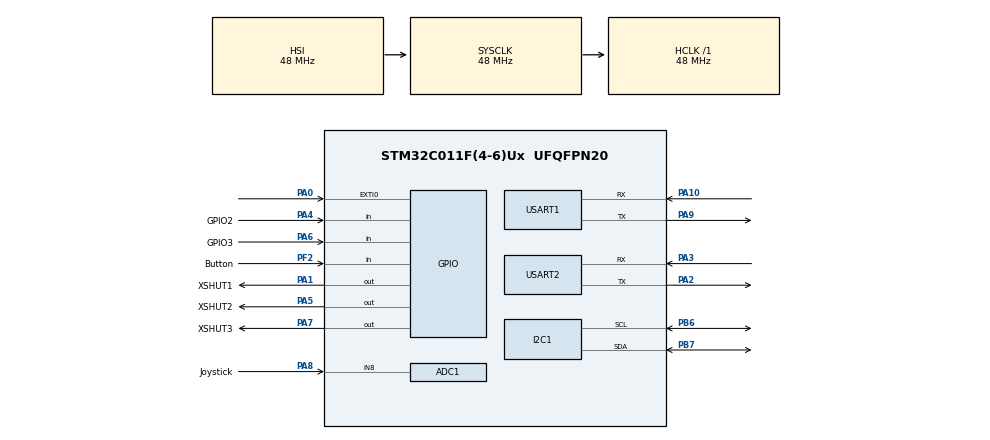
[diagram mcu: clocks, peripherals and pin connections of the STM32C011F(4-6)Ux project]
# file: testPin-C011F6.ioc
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ADC1.Channel-0\#ChannelRegularConversion=ADC_CHANNEL_8
ADC1.NbrOfConversionFlag=1
ADC1.Rank-0\#ChannelRegularConversion=1
ADC1.SamplingTime-0\#ChannelRegularConversion=ADC_SAMPLINGTIME_COMMON_1
ADC1.SelectedChannel=ADC_CHANNEL_8
ADC1.master=1
Dma.Request0=USART1_TX
Dma.Request1=USART1_RX
Dma.USART1_RX.1.Direction=DMA_PERIPH_TO_MEMORY
Dma.USART1_RX.1.EventEnable=DISABLE
Dma.USART1_RX.1.Instance=DMA1_Channel2
Dma.USART1_RX.1.MemDataAlignment=DMA_MDATAALIGN_BYTE
Dma.USART1_RX.1.MemInc=DMA_MINC_ENABLE
Dma.USART1_RX.1.Mode=DMA_NORMAL
Dma.USART1_RX.1.PeriphDataAlignment=DMA_PDATAALIGN_BYTE
Dma.USART1_RX.1.PeriphInc=DMA_PINC_DISABLE
Dma.USART1_RX.1.Polarity=HAL_DMAMUX_REQ_GEN_RISING
Dma.USART1_RX.1.Priority=DMA_PRIORITY_LOW
Dma.USART1_RX.1.RequestNumber=1
Dma.USART1_RX.1.SignalID=NONE
Dma.USART1_RX.1.SyncEnable=DISABLE
Dma.USART1_RX.1.SyncPolarity=HAL_DMAMUX_SYNC_NO_EVENT
Dma.USART1_RX.1.SyncRequestNumber=1
Dma.USART1_RX.1.SyncSignalID=NONE
Dma.USART1_TX.0.Direction=DMA_MEMORY_TO_PERIPH
Dma.USART1_TX.0.EventEnable=DISABLE
Dma.USART1_TX.0.Instance=DMA1_Channel1
Dma.USART1_TX.0.MemDataAlignment=DMA_MDATAALIGN_BYTE
Dma.USART1_TX.0.MemInc=DMA_MINC_ENABLE
Dma.USART1_TX.0.Mode=DMA_NORMAL
Dma.USART1_TX.0.PeriphDataAlignment=DMA_PDATAALIGN_BYTE
Dma.USART1_TX.0.PeriphInc=DMA_PINC_DISABLE
Dma.USART1_TX.0.Polarity=HAL_DMAMUX_REQ_GEN_RISING
Dma.USART1_TX.0.Priority=DMA_PRIORITY_LOW
Dma.USART1_TX.0.RequestNumber=1
Dma.USART1_TX.0.SignalID=NONE
Dma.USART1_TX.0.SyncEnable=DISABLE
Dma.USART1_TX.0.SyncPolarity=HAL_DMAMUX_SYNC_NO_EVENT
Dma.USART1_TX.0.SyncRequestNumber=1
Dma.USART1_TX.0.SyncSignalID=NONE
I2C1.CustomTiming=Enabled
I2C1.Timing=0x20303E5D
Mcu.Family=STM32C0
Mcu.Name=STM32C011F(4-6)Ux
Mcu.Package=UFQFPN20
NVIC.DMA1_Channel1_IRQn=true\:0\:0\:false\:false\:true\:false\:true\:true
NVIC.DMA1_Channel2_3_IRQn=true\:0\:0\:false\:false\:true\:false\:true\:true
NVIC.EXTI0_1_IRQn=true\:0\:0\:false\:false\:true\:true\:true\:true
NVIC.I2C1_IRQn=true\:0\:0\:false\:false\:true\:true\:true\:true
NVIC.USART1_IRQn=true\:0\:0\:false\:false\:true\:true\:true\:true
PA0.Signal=GPXTI0
PA1.GPIO_Label=XSHUT1
PA1.Signal=GPIO_Output
PA10\ [PA12].Mode=Asynchronous
PA10\ [PA12].Signal=USART1_RX
PA2.Mode=Asynchronous
PA2.Signal=USART2_TX
PA3.Mode=Asynchronous
PA3.Signal=USART2_RX
PA4.GPIO_Label=GPIO2
PA4.Signal=GPIO_Input
PA5.GPIO_Label=XSHUT2
PA5.Signal=GPIO_Output
PA6.GPIO_Label=GPIO3
PA6.GPIO_PuPd=GPIO_NOPULL
PA6.Signal=GPIO_Input
PA7.GPIO_Label=XSHUT3
PA7.Signal=GPIO_Output
PA8.GPIO_Label=Joystick
PA8.Mode=IN8
PA8.Signal=ADC1_IN8
PA9\ [PA11].Mode=Asynchronous
PA9\ [PA11].Signal=USART1_TX
PB6.GPIO_Pu=GPIO_PULLUP
PB6.GPIO_Speed=GPIO_SPEED_FREQ_MEDIUM
PB6.Mode=I2C
PB6.Signal=I2C1_SCL
PB7.GPIO_Pu=GPIO_PULLUP
PB7.GPIO_Speed=GPIO_SPEED_FREQ_MEDIUM
PB7.Mode=I2C
PB7.Signal=I2C1_SDA
PF2-NRST.GPIO_Label=Button
PF2-NRST.Signal=GPIO_Input
ProjectManager.HeapSize=0x200
ProjectManager.StackSize=0x400
ProjectManager.TargetToolchain=STM32CubeIDE
RCC.ADCFreq_Value=48000000
RCC.AHBFreq_Value=48000000
RCC.CortexFreq_Value=48000000
RCC.EXTERNAL_CLOCK_VALUE=12288000
RCC.HCLKFreq_Value=48000000
RCC.HSE_VALUE=8000000
RCC.HSISYSCLKDivider=RCC_HSI_DIV1
RCC.HSI_VALUE=48000000
RCC.LSE_VALUE=32768
RCC.SYSCLKFreq_VALUE=48000000
USART1.VirtualMode-Asynchronous=VM_ASYNC
USART2.VirtualMode-Asynchronous=VM_ASYNC
VP_SYS_VS_PINREMAP.Mode=PINREMAP
VP_SYS_VS_PINREMAP_10_12.Mode=PINREMAP_10_12
board=STM32C0116-DK

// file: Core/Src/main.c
/* USER CODE BEGIN Header */
/**
 ******************************************************************************
 * @file           : main.c
 * @brief          : Main program body
 ******************************************************************************
 * @attention
 *
 * Copyright (c) 2024 STMicroelectronics.
 * All rights reserved.
 *
 * This software is licensed under terms that can be found in the LICENSE file
 * in the root directory of this software component.
 * If no LICENSE file comes with this software, it is provided AS-IS.
 *
 ******************************************************************************
 */
/* USER CODE END Header */
#include "main.h"

/* USER CODE BEGIN Includes */
#include <stdarg.h>
#include "vl53l0x_api.h"
#include "STM32C011F6Ux.h"

/* USER CODE END Includes */

/* USER CODE BEGIN PD */
#if TRACE_UART

extern int uart_printf(const char *msg, ...);
extern int uart_vprintf(const char *msg, va_list ap);

#define trace_printf uart_printf
#define trace_vprintf uart_vprintf

#endif

/* USER CODE END PD */

ADC_HandleTypeDef hadc1;

I2C_HandleTypeDef hi2c1;

UART_HandleTypeDef huart1;
UART_HandleTypeDef huart2;
DMA_HandleTypeDef hdma_usart1_tx;
DMA_HandleTypeDef hdma_usart1_rx;

/* USER CODE BEGIN PV */

VL53L0X_Dev_t VL53L0XDevs[]={
		{.Id=STM32C011F6U_SENSOR_1, .DevLetter='s0', .I2cHandle=&hi2c1, .I2cDevAddr=0x52},
		{.Id=STM32C011F6U_SENSOR_2, .DevLetter='s1', .I2cHandle=&hi2c1, .I2cDevAddr=0x52},
		{.Id=STM32C011F6U_SENSOR_3, .DevLetter='s2', .I2cHandle=&hi2c1, .I2cDevAddr=0x52},
};

int nDevPresent=0;

/* USER CODE END PV */

void SystemClock_Config(void);
static void MX_GPIO_Init(void);
static void MX_DMA_Init(void);
static void MX_USART1_UART_Init(void);
static void MX_USART2_UART_Init(void);
static void MX_ADC1_Init(void);
static void MX_I2C1_Init(void);
/* USER CODE BEGIN PFP */

int STM32C011F6_ResetId(int DevNo,int state);
int ResetSensors(void);
int DetectSensors(void);

/* USER CODE END PFP */

int main(void)
{
	/* USER CODE BEGIN 1 */
	//prova2

	/* USER CODE END 1 */

	/* MCU Configuration--------------------------------------------------------*/

	/* Reset of all peripherals, Initializes the Flash interface and the Systick. */
	HAL_Init();

	/* Configure the system clock */
	SystemClock_Config();

	/* Initialize all configured peripherals */
	MX_GPIO_Init();
	MX_DMA_Init();
	MX_USART1_UART_Init();
	MX_USART2_UART_Init();
	MX_ADC1_Init();
	MX_I2C1_Init();
	/* USER CODE BEGIN 2 */
	trace_printf("ciao!\r\n");

	/* USER CODE END 2 */

	/* Infinite loop */
	/* USER CODE BEGIN WHILE */
	while (1)
	{
		int i;
		int status;
		int nDev;

		/* Reset all */
		for (i = 0; i < 3; i++){
			status = STM32C011F6_ResetId(i, 0);
			if(status == VL53L0X_ERROR_NONE)
			{
				//trace_printf("s%d device reset\r\n", i);
			}
		}
		status = ResetSensors();
		nDev = DetectSensors();
		trace_printf("ciao!\r\n");

	/* USER CODE END WHILE */

}
}

void SystemClock_Config(void)
{
	RCC_OscInitTypeDef RCC_OscInitStruct = {0};
	RCC_ClkInitTypeDef RCC_ClkInitStruct = {0};

	/** Initializes the RCC Oscillators according to the specified parameters
	 * in the RCC_OscInitTypeDef structure.
	 */
	RCC_OscInitStruct.OscillatorType = RCC_OSCILLATORTYPE_HSI;
	RCC_OscInitStruct.HSIState = RCC_HSI_ON;
	RCC_OscInitStruct.HSIDiv = RCC_HSI_DIV1;
	RCC_OscInitStruct.HSICalibrationValue = RCC_HSICALIBRATION_DEFAULT;
	if (HAL_RCC_OscConfig(&RCC_OscInitStruct) != HAL_OK)
	{
		Error_Handler();
	}

	/** Initializes the CPU, AHB and APB buses clocks
	 */
	RCC_ClkInitStruct.ClockType = RCC_CLOCKTYPE_HCLK|RCC_CLOCKTYPE_SYSCLK
			|RCC_CLOCKTYPE_PCLK1;
	RCC_ClkInitStruct.SYSCLKSource = RCC_SYSCLKSOURCE_HSI;
	RCC_ClkInitStruct.SYSCLKDivider = RCC_SYSCLK_DIV1;
	RCC_ClkInitStruct.AHBCLKDivider = RCC_HCLK_DIV1;
	RCC_ClkInitStruct.APB1CLKDivider = RCC_APB1_DIV1;

	if (HAL_RCC_ClockConfig(&RCC_ClkInitStruct, FLASH_LATENCY_1) != HAL_OK)
	{
		Error_Handler();
	}
}

static void MX_ADC1_Init(void)
{

	ADC_ChannelConfTypeDef sConfig = {0};

	/** Configure the global features of the ADC (Clock, Resolution, Data Alignment and number of conversion)
	 */
	hadc1.Instance = ADC1;
	hadc1.Init.ClockPrescaler = ADC_CLOCK_SYNC_PCLK_DIV2;
	hadc1.Init.Resolution = ADC_RESOLUTION_12B;
	hadc1.Init.DataAlign = ADC_DATAALIGN_RIGHT;
	hadc1.Init.ScanConvMode = ADC_SCAN_DISABLE;
	hadc1.Init.EOCSelection = ADC_EOC_SINGLE_CONV;
	hadc1.Init.LowPowerAutoWait = DISABLE;
	hadc1.Init.LowPowerAutoPowerOff = DISABLE;
	hadc1.Init.ContinuousConvMode = DISABLE;
	hadc1.Init.NbrOfConversion = 1;
	hadc1.Init.DiscontinuousConvMode = DISABLE;
	hadc1.Init.ExternalTrigConv = ADC_SOFTWARE_START;
	hadc1.Init.ExternalTrigConvEdge = ADC_EXTERNALTRIGCONVEDGE_NONE;
	hadc1.Init.DMAContinuousRequests = DISABLE;
	hadc1.Init.Overrun = ADC_OVR_DATA_PRESERVED;
	hadc1.Init.SamplingTimeCommon1 = ADC_SAMPLETIME_1CYCLE_5;
	hadc1.Init.SamplingTimeCommon2 = ADC_SAMPLETIME_1CYCLE_5;
	hadc1.Init.OversamplingMode = DISABLE;
	hadc1.Init.TriggerFrequencyMode = ADC_TRIGGER_FREQ_HIGH;
	if (HAL_ADC_Init(&hadc1) != HAL_OK)
	{
		Error_Handler();
	}

	/** Configure Regular Channel
	 */
	sConfig.Channel = ADC_CHANNEL_8;
	sConfig.Rank = ADC_REGULAR_RANK_1;
	sConfig.SamplingTime = ADC_SAMPLINGTIME_COMMON_1;
	if (HAL_ADC_ConfigChannel(&hadc1, &sConfig) != HAL_OK)
	{
		Error_Handler();
	}

}

static void MX_I2C1_Init(void)
{

	hi2c1.Instance = I2C1;
	hi2c1.Init.Timing = 0x20303E5D;
	hi2c1.Init.OwnAddress1 = 0;
	hi2c1.Init.AddressingMode = I2C_ADDRESSINGMODE_7BIT;
	hi2c1.Init.DualAddressMode = I2C_DUALADDRESS_DISABLE;
	hi2c1.Init.OwnAddress2 = 0;
	hi2c1.Init.OwnAddress2Masks = I2C_OA2_NOMASK;
	hi2c1.Init.GeneralCallMode = I2C_GENERALCALL_DISABLE;
	hi2c1.Init.NoStretchMode = I2C_NOSTRETCH_DISABLE;
	if (HAL_I2C_Init(&hi2c1) != HAL_OK)
	{
		Error_Handler();
	}

	/** Configure Analogue filter
	 */
	if (HAL_I2CEx_ConfigAnalogFilter(&hi2c1, I2C_ANALOGFILTER_ENABLE) != HAL_OK)
	{
		Error_Handler();
	}

	/** Configure Digital filter
	 */
	if (HAL_I2CEx_ConfigDigitalFilter(&hi2c1, 0) != HAL_OK)
	{
		Error_Handler();
	}

}

static void MX_USART1_UART_Init(void)
{

	huart1.Instance = USART1;
	huart1.Init.BaudRate = 115200;
	huart1.Init.WordLength = UART_WORDLENGTH_8B;
	huart1.Init.StopBits = UART_STOPBITS_1;
	huart1.Init.Parity = UART_PARITY_NONE;
	huart1.Init.Mode = UART_MODE_TX_RX;
	huart1.Init.HwFlowCtl = UART_HWCONTROL_NONE;
	huart1.Init.OverSampling = UART_OVERSAMPLING_16;
	huart1.Init.OneBitSampling = UART_ONE_BIT_SAMPLE_DISABLE;
	huart1.Init.ClockPrescaler = UART_PRESCALER_DIV1;
	huart1.AdvancedInit.AdvFeatureInit = UART_ADVFEATURE_NO_INIT;
	if (HAL_UART_Init(&huart1) != HAL_OK)
	{
		Error_Handler();
	}
	if (HAL_UARTEx_SetTxFifoThreshold(&huart1, UART_TXFIFO_THRESHOLD_1_8) != HAL_OK)
	{
		Error_Handler();
	}
	if (HAL_UARTEx_SetRxFifoThreshold(&huart1, UART_RXFIFO_THRESHOLD_1_8) != HAL_OK)
	{
		Error_Handler();
	}
	if (HAL_UARTEx_DisableFifoMode(&huart1) != HAL_OK)
	{
		Error_Handler();
	}

}

static void MX_USART2_UART_Init(void)
{

	huart2.Instance = USART2;
	huart2.Init.BaudRate = 115200;
	huart2.Init.WordLength = UART_WORDLENGTH_8B;
	huart2.Init.StopBits = UART_STOPBITS_1;
	huart2.Init.Parity = UART_PARITY_NONE;
	huart2.Init.Mode = UART_MODE_TX_RX;
	huart2.Init.HwFlowCtl = UART_HWCONTROL_NONE;
	huart2.Init.OverSampling = UART_OVERSAMPLING_16;
	huart2.Init.OneBitSampling = UART_ONE_BIT_SAMPLE_DISABLE;
	huart2.Init.ClockPrescaler = UART_PRESCALER_DIV1;
	huart2.AdvancedInit.AdvFeatureInit = UART_ADVFEATURE_NO_INIT;
	if (HAL_UART_Init(&huart2) != HAL_OK)
	{
		Error_Handler();
	}

}

static void MX_DMA_Init(void)
{

	/* DMA controller clock enable */
	__HAL_RCC_DMA1_CLK_ENABLE();

	/* DMA interrupt init */
	/* DMA1_Channel1_IRQn interrupt configuration */
	HAL_NVIC_SetPriority(DMA1_Channel1_IRQn, 0, 0);
	HAL_NVIC_EnableIRQ(DMA1_Channel1_IRQn);
	/* DMA1_Channel2_3_IRQn interrupt configuration */
	HAL_NVIC_SetPriority(DMA1_Channel2_3_IRQn, 0, 0);
	HAL_NVIC_EnableIRQ(DMA1_Channel2_3_IRQn);

}

static void MX_GPIO_Init(void)
{
	GPIO_InitTypeDef GPIO_InitStruct = {0};

	/* GPIO Ports Clock Enable */
	__HAL_RCC_GPIOF_CLK_ENABLE();
	__HAL_RCC_GPIOA_CLK_ENABLE();
	__HAL_RCC_GPIOB_CLK_ENABLE();

	/*Configure GPIO pin Output Level */
	HAL_GPIO_WritePin(GPIOA, XSHUT1_Pin|XSHUT2_Pin|XSHUT3_Pin, GPIO_PIN_RESET);

	/*Configure GPIO pin : Button_Pin */
	GPIO_InitStruct.Pin = Button_Pin;
	GPIO_InitStruct.Mode = GPIO_MODE_INPUT;
	GPIO_InitStruct.Pull = GPIO_NOPULL;
	HAL_GPIO_Init(Button_GPIO_Port, &GPIO_InitStruct);

	/*Configure GPIO pin : PA0 */
	GPIO_InitStruct.Pin = GPIO_PIN_0;
	GPIO_InitStruct.Mode = GPIO_MODE_IT_RISING;
	GPIO_InitStruct.Pull = GPIO_NOPULL;
	HAL_GPIO_Init(GPIOA, &GPIO_InitStruct);

	/*Configure GPIO pins : XSHUT1_Pin XSHUT2_Pin XSHUT3_Pin */
	GPIO_InitStruct.Pin = XSHUT1_Pin|XSHUT2_Pin|XSHUT3_Pin;
	GPIO_InitStruct.Mode = GPIO_MODE_OUTPUT_PP;
	GPIO_InitStruct.Pull = GPIO_NOPULL;
	GPIO_InitStruct.Speed = GPIO_SPEED_FREQ_LOW;
	HAL_GPIO_Init(GPIOA, &GPIO_InitStruct);

	/*Configure GPIO pins : GPIO2_Pin GPIO3_Pin */
	GPIO_InitStruct.Pin = GPIO2_Pin|GPIO3_Pin;
	GPIO_InitStruct.Mode = GPIO_MODE_INPUT;
	GPIO_InitStruct.Pull = GPIO_NOPULL;
	HAL_GPIO_Init(GPIOA, &GPIO_InitStruct);

	/* EXTI interrupt init*/
	HAL_NVIC_SetPriority(EXTI0_1_IRQn, 0, 0);
	HAL_NVIC_EnableIRQ(EXTI0_1_IRQn);

}

/* USER CODE BEGIN 4 */

/**
 * Set/Reset XSHUT Pin of a given "id" device
 * @param  DevNo: The device number use  @ref XNUCLEO53L0A1_dev_e. Char 't' 'c' 'r' can also be used
 * @param state: Status of XSHUT Pin (1 high, 0 low)
 * @return 0 on success
 */
int STM32C011F6_ResetId(int DevNo, int state)
{
	int status = 1;
	GPIO_PinState pinState;
	if(state)
	{
		pinState = GPIO_PIN_SET;
	}
	else
	{
		pinState = GPIO_PIN_RESET;
	}

	switch( DevNo ){
	case STM32C011F6U_SENSOR_1 :
	case 's1' :
		HAL_GPIO_WritePin(GPIOA, GPIO_PIN_1, pinState); /*PA1 => XSHUT1*/
		if(HAL_GPIO_ReadPin(GPIOA,GPIO_PIN_1) == pinState)
		{
			//trace_printf("s1 set\r\n");
			status = 0;
		}
		break;
	case STM32C011F6U_SENSOR_2 :
	case 's2' :
		HAL_GPIO_WritePin(GPIOA, GPIO_PIN_5, pinState); /*PA5 => XSHUT2*/
		if(HAL_GPIO_ReadPin(GPIOA,GPIO_PIN_5) == pinState)
		{
			//trace_printf("s2 set\r\n");
			status = 0;
		}
		break;
	case 's3' :
	case STM32C011F6U_SENSOR_3 :
		HAL_GPIO_WritePin(GPIOA, GPIO_PIN_7, pinState); /*PA7 => XSHUT3*/
		if(HAL_GPIO_ReadPin(GPIOA,GPIO_PIN_7) == pinState)
		{
			//trace_printf("s3 on\r\n");
			status = 0;
		}
		break;
	default:
		trace_printf("Invalid DevNo %d\r\n",DevNo);
		status = -1;
		goto done;
	}
	//error with valid id
	if(status ){
		trace_printf("XSHUT set error for DevNo %d \r\n",DevNo);
	}
	done:
	return status;
}

/**
 * Reset all sensors XSHUT Pin
 */
int ResetSensors(void)
{
	int i;
	int result;

	/* Reset all */
	for (i = 0; i < 3; i++){
		result &= STM32C011F6_ResetId(i, 0);
	}

	return result; /* 0 success, 1 fail */
}
/**
 *  then do presence detection
 *
 * All present devices are data initiated and assigned to their final I2C address
 * @return
 */
int DetectSensors(void)
{
    int i;
    uint16_t Id;
    int status;
    int FinalAddress;
    nDevPresent = 0;

	/* detect all sensors (even on-board)*/
	for (i = 0; i < 3; i++) {
		VL53L0X_Dev_t *pDev;
		pDev = &VL53L0XDevs[i];
		pDev->I2cDevAddr = 0x52;
		pDev->Present = 0;
		status = STM32C011F6_ResetId( pDev->Id, 1); /* enable XSHUTs */
		HAL_Delay(2);
		FinalAddress=0x52+(i+1)*2;

		do {
			/* Set I2C standard mode (400 KHz) before doing the first register access */
			if (status == VL53L0X_ERROR_NONE)
				status = VL53L0X_WrByte(pDev, 0x88, 0x00);

			/* Try to read one register using default 0x52 address */
			status = VL53L0X_RdWord(pDev, VL53L0X_REG_IDENTIFICATION_MODEL_ID, &Id);
			if (status) {
				trace_printf("#%d Read id fail\n", i);
				//break;
			}
			if (Id == 0xEEAA) {
				/* Sensor is found => Change its I2C address to final one */
				status = VL53L0X_SetDeviceAddress(pDev,FinalAddress);
				if (status != 0) {
					trace_printf("#i VL53L0X_SetDeviceAddress fail\n", i);
					break;
				}
				pDev->I2cDevAddr = FinalAddress;
				/* Check all is OK with the new I2C address and initialize the sensor */
				status = VL53L0X_RdWord(pDev, VL53L0X_REG_IDENTIFICATION_MODEL_ID, &Id);
				if (status != 0) {
					trace_printf("#i VL53L0X_RdWord fail\n", i);
					break;
				}

				status = VL53L0X_DataInit(pDev);
				if( status == 0 ){
					pDev->Present = 1;
				}
				else{
					trace_printf("VL53L0X_DataInit %d fail\n", i);
					break;
				}
				trace_printf("VL53L0X %d Present and initiated to final 0x%x\n", pDev->Id, pDev->I2cDevAddr);
				nDevPresent++;
				//nDevMask |= 1 << i;
				pDev->Present = 1;
			}
			else {
				trace_printf("#%d unknown ID %x\n", i, Id);
				status = 1;
			}
		} while (0);
		/* if fail r can't use for any reason then put the  device back to reset */
		if (status) {
			STM32C011F6_ResetId(i, 0);
		}
	}
//	/* Display detected sensor(s) */
//	if( SetDisplay ){
//		for(i=0; i<3; i++){
//			if( VL53L0XDevs[i].Present ){
//				PresentMsg[i+1]=VL53L0XDevs[i].DevLetter;
//			}
//		}
//		PresentMsg[0]=' ';
//		XNUCLEO53L0A1_SetDisplayString(PresentMsg);
//		HAL_Delay(1000);
//	}
//
	return nDevPresent;
}

/* USER CODE END 4 */

void Error_Handler(void)
{
	__disable_irq();
	while (1)
	{
	}
}
